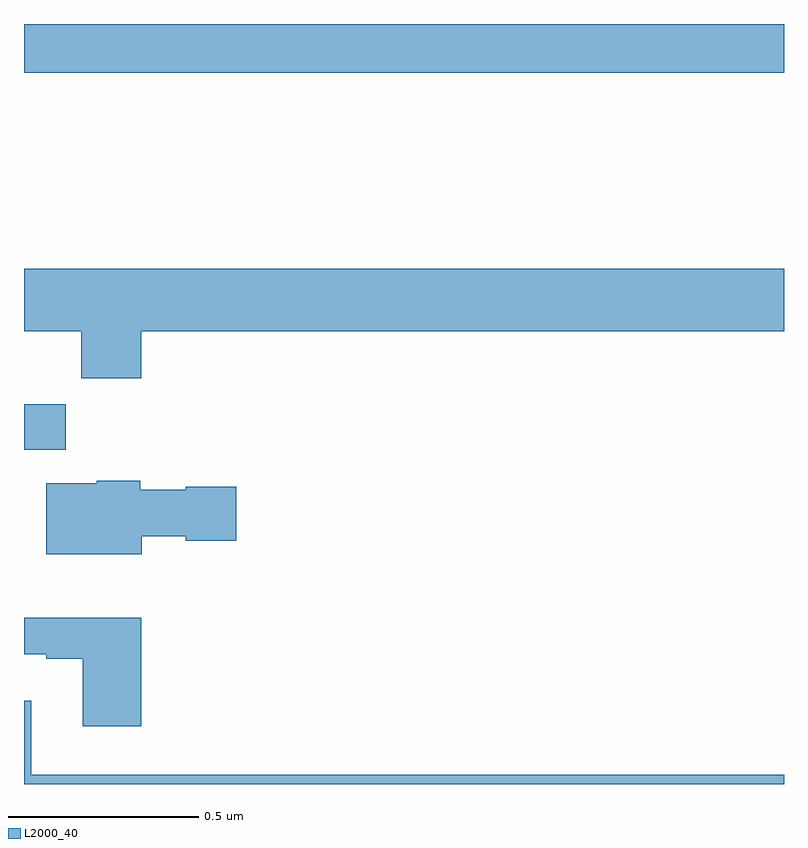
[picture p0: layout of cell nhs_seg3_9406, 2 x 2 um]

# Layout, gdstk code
import gdstk
lib = gdstk.Library(unit=1e-6, precision=1e-09)
def R(c, l, rs):  # rectangles x0, y0, x1, y1
    for r in rs: c.add(gdstk.rectangle(r[:2], r[2:], *l))
def P(c, l, *ps):  # polygons
    for p in ps: c.add(gdstk.Polygon(p, *l))
L2000_40 = (2000, 40)

nhs_seg3_9406 = lib.new_cell('nhs_seg3_9406')
R(nhs_seg3_9406, L2000_40, [(228,691.28,228.11,691.399), (228,692.272,230,692.4)])
P(nhs_seg3_9406, L2000_40, [(228.308,691.592),(230,691.592),(230,691.756),(228,691.756),(228,691.592),(228.151,691.592),(228.151,691.468),(228.308,691.468)],
  [(228.31,691.052),(228.426,691.052),(228.426,691.04),(228.559,691.04),(228.559,691.182),(228.426,691.182),(228.426,691.174),(228.306,691.174),(228.306,691.198),(228.192,691.198),(228.192,691.192),(228.059,691.192),(228.059,691.004),(228.31,691.004)],
  [(228.308,690.838),(228,690.838),(228,690.741),(228.059,690.741),(228.059,690.729),(228.155,690.729),(228.155,690.552),(228.308,690.552)],
  [(230,690.424),(228.019,690.424),(228.019,690.619),(228,690.619),(228,690.4),(230,690.4)])

lib.write_gds('nhs_seg3_9406.gds')
